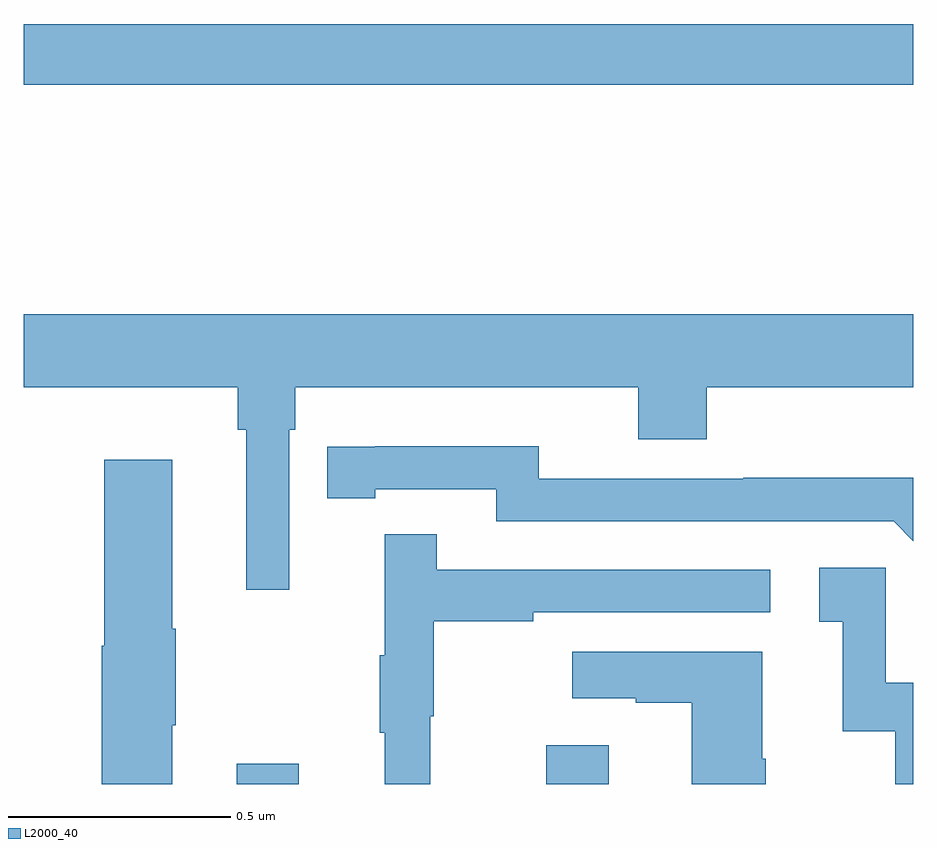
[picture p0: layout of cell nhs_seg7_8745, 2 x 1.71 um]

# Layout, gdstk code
import gdstk
lib = gdstk.Library(unit=1e-6, precision=1e-09)
def R(c, l, rs):  # rectangles x0, y0, x1, y1
    for r in rs: c.add(gdstk.rectangle(r[:2], r[2:], *l))
def P(c, l, *ps):  # polygons
    for p in ps: c.add(gdstk.Polygon(p, *l))
L2000_40 = (2000, 40)

nhs_seg7_8745 = lib.new_cell('nhs_seg7_8745')
R(nhs_seg7_8745, L2000_40, [(228.479,1057,228.619,1057.045), (229.175,1057,229.315,1057.087), (228,1058.572,230,1058.708)])
P(nhs_seg7_8745, L2000_40, [(228,1057.892),(228.481,1057.892),(228.481,1057.796),(228.5,1057.796),(228.5,1057.437),(228.597,1057.437),(228.597,1057.796),(228.611,1057.796),(228.611,1057.892),(229.382,1057.892),(229.382,1057.775),(229.535,1057.775),(229.535,1057.892),(230,1057.892),(230,1058.056),(228,1058.056)],
  [(230,1057.688),(229.618,1057.688),(229.618,1057.686),(229.158,1057.686),(229.158,1057.759),(228.79,1057.759),(228.79,1057.758),(228.682,1057.758),(228.682,1057.642),(228.79,1057.642),(228.79,1057.662),(229.062,1057.662),(229.062,1057.59),(229.956,1057.59),(230,1057.546)],
  [(228.334,1057.132),(228.342,1057.132),(228.342,1057.349),(228.334,1057.349),(228.334,1057.729),(228.181,1057.729),(228.181,1057.311),(228.176,1057.311),(228.176,1057),(228.334,1057)],
  [(228.914,1057.152),(228.922,1057.152),(228.922,1057.366),(229.145,1057.366),(229.145,1057.386),(229.678,1057.386),(229.678,1057.482),(228.929,1057.482),(228.929,1057.561),(228.812,1057.561),(228.812,1057.289),(228.801,1057.289),(228.801,1057.115),(228.812,1057.115),(228.812,1057),(228.914,1057)],
  [(230,1057.227),(229.938,1057.227),(229.938,1057.486),(229.788,1057.486),(229.788,1057.365),(229.841,1057.365),(229.841,1057.119),(229.959,1057.119),(229.959,1057),(230,1057)],
  [(229.668,1057.057),(229.66,1057.057),(229.66,1057.297),(229.233,1057.297),(229.233,1057.193),(229.376,1057.193),(229.376,1057.183),(229.502,1057.183),(229.502,1057),(229.668,1057)])

lib.write_gds('nhs_seg7_8745.gds')
